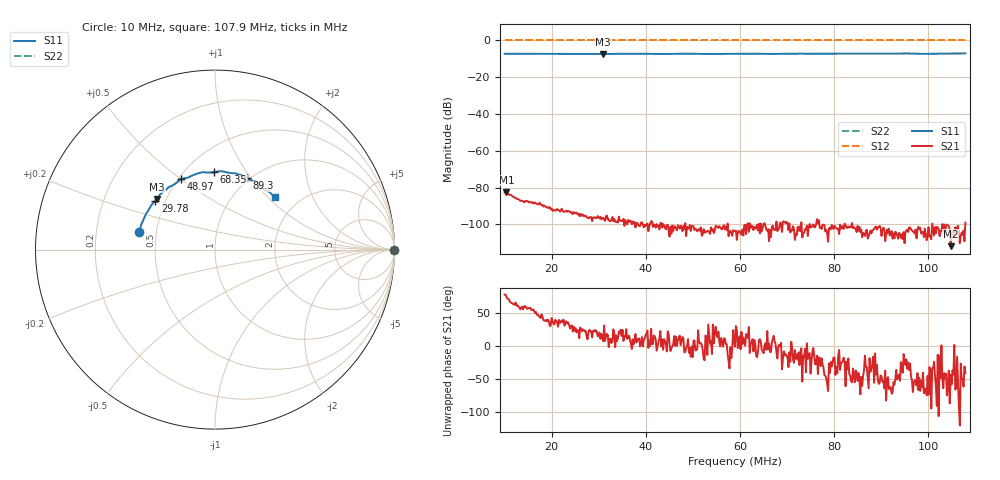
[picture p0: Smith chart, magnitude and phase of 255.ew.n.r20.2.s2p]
! Anritsu VNA Master:  Model: MS2036C/10/77
! SN:  1601066
! /card0/usr/255.ew.n.r20.2.s2p
! Existing Calibration Information:
! TYPE:  Current Settings,  Active Cal Settings
! TIME:  12/17/2017 06:52:24 PM,  12/17/2017 06:38:14 PM
! INTERNAL TEMP:  43.0 C,  43.8 C
! # POINTS:  501,  501
! START FREQ:  10.000 MHz,  10.000 MHz
! STOP FREQ:  107.903 125 MHz,  107.903 125 MHz
! SOURCE POWER:  High,  High
! IFBW:  100 Hz,  100 Hz
! AVG FACTOR:  1 ,  1
! REF PLANE 1:  0 mm,  0 mm
! REF PLANE 2:  0 mm,  0 mm
! CAL TYPE:  Full S11,  Full S11
! CAL METHOD:  SOLT,  SOLT
! CAL LINE TYPE:  Coax,  Coax
! DUT PORT 1:  N-Conn(F),  N-Conn(F)
! DUT PORT 2:  K-Conn(F),  K-Conn(F)
! CAL STATUS:  OK: Accuracy High,  --
# GHZ S DB R 50.0
! FREQ.GHZ  S11DB  S11A  S21DB  S21A  S12DB  S12A  S22DB  S22A
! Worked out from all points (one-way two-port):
!   501 points, 10 MHz to 107.9 MHz, reference 50 ohm
!   highest |S21| = -82.39 dB at 10.39 MHz (marker M1); lowest = -111.9 dB at 104.8 MHz (marker M2)
!   lowest |S11| = -7.4 dB at 30.95 MHz (marker M3), VSWR 2.49, Z = 22.4 + j15.4 ohm
!   |S11| at or under -10 dB: nowhere
!   |S22| runs from 0.0 to 0.0 dB; largest |S21 - S12| = 1
!   S11 on the Smith chart (normalised r, x): 10 MHz: 0.40, +0.10; 29.78 MHz: 0.44, +0.29; 48.97 MHz: 0.51, +0.50; 68.35 MHz: 0.68, +0.72; 89.3 MHz: 0.97, +0.96; 107.9 MHz: 1.51, +1.10
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0.01  -7.26 166.6  -82.79 77.7  0.00 0.0  0.00 0.0
0.01039161  -7.25 166.1  -82.39 74.1  0.00 0.0  0.00 0.0
0.02644772  -7.28 145.0  -94.60 22.1  0.00 0.0  0.00 0.0
0.02977643  -7.36 140.9  -95.51 14.4  0.00 0.0  0.00 0.0
0.03095127  -7.38 138.8  -96.50 7.0  0.00 0.0  0.00 0.0
0.03330094  -7.26 135.5  -97.03 18.5  0.00 0.0  0.00 0.0
0.04269964  -7.35 124.1  -100.66 6.2  0.00 0.0  0.00 0.0
0.04641996  -7.30 118.2  -102.38 14.3  0.00 0.0  0.00 0.0
0.04896544  -7.20 115.9  -102.47 10.3  0.00 0.0  0.00 0.0
0.05327318  -7.36 110.4  -103.69 32.3  0.00 0.0  0.00 0.0
0.05914737  -7.22 102.5  -103.40 29.9  0.00 0.0  0.00 0.0
0.06365091  -7.23 97.9  -100.26 -17.0  0.00 0.0  0.00 0.0
0.06835026  -7.29 90.7  -101.71 1.6  0.00 0.0  0.00 0.0
0.07539929  -7.22 82.6  -101.18 -8.8  0.00 0.0  0.00 0.0
0.08029444  -7.16 75.9  -101.69 -43.8  0.00 0.0  0.00 0.0
0.08930153  -7.19 65.7  -101.53 -51.0  0.00 0.0  0.00 0.0
0.09165121  -7.23 61.9  -102.44 -65.3  0.00 0.0  0.00 0.0
0.09615475  -7.09 57.4  -101.77 -26.6  0.00 0.0  0.00 0.0
0.09948346  -7.30 52.4  -105.56 -65.1  0.00 0.0  0.00 0.0
0.1022247  -7.16 47.8  -102.40 -106.3  0.00 0.0  0.00 0.0
0.1047702  -7.10 45.2  -111.89 -43.5  0.00 0.0  0.00 0.0
0.1079031  -7.06 41.4  -99.08 -41.0  0.00 0.0  0.00 0.0
